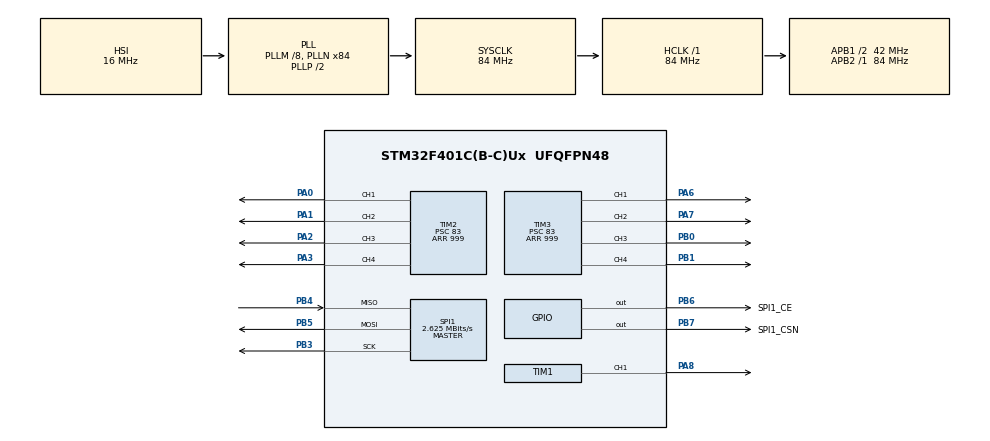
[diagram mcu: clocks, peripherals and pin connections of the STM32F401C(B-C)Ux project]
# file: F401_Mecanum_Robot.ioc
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Dma.Request0=TIM1_CH1
Dma.TIM1_CH1.0.Direction=DMA_MEMORY_TO_PERIPH
Dma.TIM1_CH1.0.FIFOMode=DMA_FIFOMODE_DISABLE
Dma.TIM1_CH1.0.Instance=DMA2_Stream1
Dma.TIM1_CH1.0.MemDataAlignment=DMA_MDATAALIGN_HALFWORD
Dma.TIM1_CH1.0.MemInc=DMA_MINC_ENABLE
Dma.TIM1_CH1.0.Mode=DMA_NORMAL
Dma.TIM1_CH1.0.PeriphDataAlignment=DMA_PDATAALIGN_HALFWORD
Dma.TIM1_CH1.0.PeriphInc=DMA_PINC_DISABLE
Dma.TIM1_CH1.0.Priority=DMA_PRIORITY_LOW
Mcu.Family=STM32F4
Mcu.Name=STM32F401C(B-C)Ux
Mcu.Package=UFQFPN48
NVIC.DMA2_Stream1_IRQn=true\:0\:0\:false\:false\:true\:false\:true\:true
NVIC.PriorityGroup=NVIC_PRIORITYGROUP_4
PA0-WKUP.Signal=S_TIM2_CH1_ETR
PA1.Signal=S_TIM2_CH2
PA13.Mode=Serial_Wire
PA13.Signal=SYS_JTMS-SWDIO
PA14.Mode=Serial_Wire
PA14.Signal=SYS_JTCK-SWCLK
PA2.Signal=S_TIM2_CH3
PA3.Signal=S_TIM2_CH4
PA6.Signal=S_TIM3_CH1
PA7.Signal=S_TIM3_CH2
PA8.Signal=S_TIM1_CH1
PB0.Signal=S_TIM3_CH3
PB1.Signal=S_TIM3_CH4
PB3.Mode=Full_Duplex_Master
PB3.Signal=SPI1_SCK
PB4.Mode=Full_Duplex_Master
PB4.Signal=SPI1_MISO
PB5.Mode=Full_Duplex_Master
PB5.Signal=SPI1_MOSI
PB6.GPIO_Label=SPI1_CE
PB6.Signal=GPIO_Output
PB7.GPIO_Label=SPI1_CSN
PB7.Signal=GPIO_Output
PH0\ -\ OSC_IN.Mode=HSE-External-Oscillator
PH0\ -\ OSC_IN.Signal=RCC_OSC_IN
PH1\ -\ OSC_OUT.Mode=HSE-External-Oscillator
PH1\ -\ OSC_OUT.Signal=RCC_OSC_OUT
ProjectManager.HeapSize=0x200
ProjectManager.StackSize=0x400
ProjectManager.TargetToolchain=STM32CubeIDE
RCC.48MHZClocksFreq_Value=42000000
RCC.AHBFreq_Value=84000000
RCC.APB1CLKDivider=RCC_HCLK_DIV2
RCC.APB1Freq_Value=42000000
RCC.APB1TimFreq_Value=84000000
RCC.APB2Freq_Value=84000000
RCC.APB2TimFreq_Value=84000000
RCC.CortexFreq_Value=84000000
RCC.HCLKFreq_Value=84000000
RCC.HSE_VALUE=25000000
RCC.HSI_VALUE=16000000
RCC.LSE_VALUE=32768
RCC.PLLM=8
RCC.PLLN=84
RCC.SYSCLKFreq_VALUE=84000000
RCC.SYSCLKSource=RCC_SYSCLKSOURCE_PLLCLK
RCC.VCOOutputFreq_Value=168000000
SH.S_TIM1_CH1.0=TIM1_CH1,PWM Generation1 CH1
SH.S_TIM2_CH1_ETR.0=TIM2_CH1,PWM Generation1 CH1
SH.S_TIM2_CH2.0=TIM2_CH2,PWM Generation2 CH2
SH.S_TIM2_CH3.0=TIM2_CH3,PWM Generation3 CH3
SH.S_TIM2_CH4.0=TIM2_CH4,PWM Generation4 CH4
SH.S_TIM3_CH1.0=TIM3_CH1,PWM Generation1 CH1
SH.S_TIM3_CH2.0=TIM3_CH2,PWM Generation2 CH2
SH.S_TIM3_CH3.0=TIM3_CH3,PWM Generation3 CH3
SH.S_TIM3_CH4.0=TIM3_CH4,PWM Generation4 CH4
SPI1.BaudRatePrescaler=SPI_BAUDRATEPRESCALER_32
SPI1.CalculateBaudRate=2.625 MBits/s
SPI1.Direction=SPI_DIRECTION_2LINES
SPI1.Mode=SPI_MODE_MASTER
SPI1.VirtualType=VM_MASTER
TIM1.AutoReloadPreload=TIM_AUTORELOAD_PRELOAD_ENABLE
TIM1.Channel-PWM\ Generation1\ CH1=TIM_CHANNEL_1
TIM1.Period=104
TIM2.Channel-PWM\ Generation1\ CH1=TIM_CHANNEL_1
TIM2.Channel-PWM\ Generation2\ CH2=TIM_CHANNEL_2
TIM2.Channel-PWM\ Generation3\ CH3=TIM_CHANNEL_3
TIM2.Channel-PWM\ Generation4\ CH4=TIM_CHANNEL_4
TIM2.Period=999
TIM2.Prescaler=83
TIM3.Channel-PWM\ Generation1\ CH1=TIM_CHANNEL_1
TIM3.Channel-PWM\ Generation2\ CH2=TIM_CHANNEL_2
TIM3.Channel-PWM\ Generation3\ CH3=TIM_CHANNEL_3
TIM3.Channel-PWM\ Generation4\ CH4=TIM_CHANNEL_4
TIM3.Period=999
TIM3.Prescaler=83
VP_TIM1_VS_ClockSourceINT.Mode=Internal
VP_TIM2_VS_ClockSourceINT.Mode=Internal
VP_TIM3_VS_ClockSourceINT.Mode=Internal
board=custom

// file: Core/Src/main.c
/* USER CODE BEGIN Header */
/**
  ******************************************************************************
  * @file           : main.c
  * @brief          : Main program body
  ******************************************************************************
  * @attention
  *
  * <h2><center>&copy; Copyright (c) 2023 STMicroelectronics.
  * All rights reserved.</center></h2>
  *
  * This software component is licensed by ST under BSD 3-Clause license,
  * the "License"; You may not use this file except in compliance with the
  * License. You may obtain a copy of the License at:
  *                        opensource.org/licenses/BSD-3-Clause
  *
  ******************************************************************************
  */
/* USER CODE END Header */
#include "main.h"
#include "dma.h"
#include "spi.h"
#include "tim.h"
#include "gpio.h"

/* USER CODE BEGIN Includes */

#include "NRF24L01.h"
#include "math.h"

/* USER CODE END Includes */

/* USER CODE BEGIN PM */

uint8_t Rxaddr[5] = {'S','T','E','A','E'};
uint8_t RxData[8];
uint32_t lastTime = 0;

uint32_t last_time = 0;
#define MAX_LED 8
#define USE_BRIGHTNESS 0

uint8_t LED_Data[MAX_LED][8];
uint8_t LED_Mod[MAX_LED][8];  // for brightness
uint16_t effStep = 0;
uint32_t K[3] = {0, 4, 8};
int GREEN[3] = {255, 0, 0};
int BLUE[3] = {0, 255, 0};
int RED[3] = {0, 0, 255};
int L = 4, M = 8,z;
int datasentflag=0;
int RGB_Blue = 0;
int RGB_Red = 255;
int RGB_Green =0;
int RGB_state = 0;
int RGB_Brightness = 255;

float W1, W2, W3, W4 ;
float Vx, Vy, Omega;

/* USER CODE END PM */

void SystemClock_Config(void);
/* USER CODE BEGIN PFP */

void HAL_TIM_PWM_PulseFinishedCallback(TIM_HandleTypeDef *htim)
{
	HAL_TIM_PWM_Stop_DMA(&htim1, TIM_CHANNEL_1);
	datasentflag=1;
}

void Set_LED (int LEDnum, int Red, int Green, int Blue)
{
	LED_Data[LEDnum][0] = LEDnum;
	LED_Data[LEDnum][1] = Green;
	LED_Data[LEDnum][2] = Red;
	LED_Data[LEDnum][3] = Blue;
}

#define PI 3.14159265

void Set_Brightness (int brightness)  // 0-45
{
#if USE_BRIGHTNESS

	if (brightness > 45) brightness = 45;
	for (int i=0; i<MAX_LED; i++)
	{
		LED_Mod[i][0] = LED_Data[i][0];
		for (int j=1; j<4; j++)
		{
			float angle = 90-brightness;  // in degrees
			angle = angle*PI / 180;  // in rad
			LED_Mod[i][j] = (LED_Data[i][j])/(tan(angle));
		}
	}

#endif

}

uint16_t pwmData[(24*MAX_LED)+50];

void WS2812_Send (void)
{
	uint32_t indx=0;
	uint32_t color;

	for (int i= 0; i<MAX_LED; i++)
	{
#if USE_BRIGHTNESS
		color = ((LED_Mod[i][1]<<16) | (LED_Mod[i][2]<<8) | (LED_Mod[i][3]));
#else
		color = ((LED_Data[i][1]<<16) | (LED_Data[i][2]<<8) | (LED_Data[i][3]));
#endif

		for (int i=23; i>=0; i--)
		{
			if (color&(1<<i))
			{
				pwmData[indx] = 70;  // 2/3 of 105/70
			}

			else pwmData[indx] = 35;  // 1/3 of 105/37

			indx++;
		}

	}

	for (int i=0; i<50; i++)
	{
		pwmData[indx] = 0;
		indx++;
	}

	HAL_TIM_PWM_Start_DMA(&htim1, TIM_CHANNEL_1, (uint32_t *)pwmData, indx);
	while (!datasentflag){};
	datasentflag = 0;
}

void Reset_LED (void)
{
	for (int i=0; i<MAX_LED; i++)
	{
		LED_Data[i][0] = i;
		LED_Data[i][1] = 0;
		LED_Data[i][2] = 0;
		LED_Data[i][3] = 0;
	}
}

double map(double x, double in_min, double in_max, double out_min, double out_max) {
  return (x - in_min) * (out_max - out_min) / (in_max - in_min) + out_min;
}

void reset_data(void){
  RxData[0] = 128;//x1
  RxData[1] = 128;//y1
  RxData[2] = 128;//x2
  RxData[3] = 128; //y2
  RxData[4] = 128; //y2
  RxData[5] = 128; //y2
  RxData[6] = 0; //y2
  RxData[7] = 0; //y2
}
void RGB_Speed(){
	  if(HAL_GetTick() - last_time >= map(RxData[0],0,255,20,250)){
	  	last_time = HAL_GetTick();

	  	for(int i = 0;i<=2; i++){
			K[i]++;
			if(K[i] == 12){
				K[i]=0;
				Set_LED(K[i], RED[i], GREEN[i], BLUE[i]);
				Set_Brightness(0);
				Set_LED(11, 0, 0, 0);

				WS2812_Send();
			}
			if(K[i]>=1 && K[i]<=11){
				Set_LED(K[i],RED[i], GREEN[i], BLUE[i]);
				Set_LED(K[i]-1, 0, 0, 0);
				WS2812_Send();
			}
	  	}
	  }
}

/* USER CODE END PFP */

int main(void)
{

  /* MCU Configuration--------------------------------------------------------*/

  /* Reset of all peripherals, Initializes the Flash interface and the Systick. */
  HAL_Init();

  /* Configure the system clock */
  SystemClock_Config();

  /* Initialize all configured peripherals */
  MX_GPIO_Init();
  MX_DMA_Init();
  MX_TIM1_Init();
  MX_SPI1_Init();
  MX_TIM2_Init();
  MX_TIM3_Init();
  /* USER CODE BEGIN 2 */

    Reset_LED();

    NRF24_Init();
    NRF24_RxMode(Rxaddr, 112, 8);//NRF24_TxMode(Address, channel, payload_size)
    RxData[0] = 128;//x1
    RxData[1] = 128;//y1
    RxData[2] = 128;//x2
    RxData[3] = 128; //y2
    RxData[4] = 128; //y2
    RxData[5] = 128; //y2
    RxData[6] = 0; //y2
    RxData[7] = 0; //y2

    HAL_TIM_PWM_Start(&htim2, TIM_CHANNEL_1);
    HAL_TIM_PWM_Start(&htim2, TIM_CHANNEL_2);
    HAL_TIM_PWM_Start(&htim2, TIM_CHANNEL_3);
    HAL_TIM_PWM_Start(&htim2, TIM_CHANNEL_4);

    HAL_TIM_PWM_Start(&htim3, TIM_CHANNEL_1);
    HAL_TIM_PWM_Start(&htim3, TIM_CHANNEL_2);
    HAL_TIM_PWM_Start(&htim3, TIM_CHANNEL_3);
    HAL_TIM_PWM_Start(&htim3, TIM_CHANNEL_4);

  /* USER CODE END 2 */

  /* Infinite loop */
  /* USER CODE BEGIN WHILE */
  while (1)
  {

	  if(DataReady(1)>0){
			NRF24_Receive(RxData, 8);
			lastTime = HAL_GetTick();
		  }
		  if((HAL_GetTick() - lastTime > 10)){
			reset_data();
		  }

		  Vx = map(RxData[0],0 , 256, 999, -999);
		  Vy = map(RxData[1],0 , 256, 999, -999);
		  Omega = map(RxData[2],0 , 256, 999, -999);

		  W1 = -Vx - Vy + 0.5*Omega;
		  W2 = -Vx + Vy - 0.5*Omega;
		  W3 = -Vx + Vy + 0.5*Omega;
		  W4 = -Vx - Vy - 0.5*Omega;

		  if(W1 < -999) W1= -999;
		  if(W1 > 999)  W1 = 999;

		  if(W2 < -999) W2 = -999;
		  if(W2 > 999)  W2 = 999;

		  if(W3 < -999) W3 = -999;
		  if(W3 > 999)  W3 = 999;

		  if(W4 < -999) W4 = -999;
		  if(W4 > 999)  W4 = 999;

		  /////////////////////////
		  if(W1 > 0 && W1 <= 999){
			  __HAL_TIM_SET_COMPARE(&htim2, TIM_CHANNEL_1, W1);
			  __HAL_TIM_SET_COMPARE(&htim2, TIM_CHANNEL_2, 0);
		  }
		  if(W1 == 0){
			  __HAL_TIM_SET_COMPARE(&htim2, TIM_CHANNEL_1, 0);
			  __HAL_TIM_SET_COMPARE(&htim2, TIM_CHANNEL_2, 0);
		  }
		  if(W1 < 0 && W1 >= -999){
			  __HAL_TIM_SET_COMPARE(&htim2, TIM_CHANNEL_1, 0);
			  __HAL_TIM_SET_COMPARE(&htim2, TIM_CHANNEL_2, (-1)*W1);
		  }
		  /////////////////////////
		  if(W2> 0 && W2<= 999){
			  __HAL_TIM_SET_COMPARE(&htim2, TIM_CHANNEL_3, 0);
			  __HAL_TIM_SET_COMPARE(&htim2, TIM_CHANNEL_4, W2);
		  }
		  if(W2 == 0){
			  __HAL_TIM_SET_COMPARE(&htim2, TIM_CHANNEL_3, 0);
			  __HAL_TIM_SET_COMPARE(&htim2, TIM_CHANNEL_4, 0);
		  }
		  if(W2 < 0 && W2 >= -999){
			  __HAL_TIM_SET_COMPARE(&htim2, TIM_CHANNEL_3, (-1)*W2);
			  __HAL_TIM_SET_COMPARE(&htim2, TIM_CHANNEL_4, 0);
		  }
		  ///////////////////////////
		  if(W3> 0 && W3<= 999){
			  __HAL_TIM_SET_COMPARE(&htim3, TIM_CHANNEL_1, W3);
			  __HAL_TIM_SET_COMPARE(&htim3, TIM_CHANNEL_2, 0);
		  }
		  if(W3 == 0){
			  __HAL_TIM_SET_COMPARE(&htim3, TIM_CHANNEL_1, 0);
			  __HAL_TIM_SET_COMPARE(&htim3, TIM_CHANNEL_2, 0);
		  }
		  if(W3 < 0 && W3 >= -999){
			  __HAL_TIM_SET_COMPARE(&htim3, TIM_CHANNEL_1, 0);
			  __HAL_TIM_SET_COMPARE(&htim3, TIM_CHANNEL_2, (-1)*W3);
		  }
		  ///////////////////////////
		  if(W4> 0 && W4<= 999){
			  __HAL_TIM_SET_COMPARE(&htim3, TIM_CHANNEL_3, 0);
			  __HAL_TIM_SET_COMPARE(&htim3, TIM_CHANNEL_4, W4);
		  }
		  if(W4 == 0){
			  __HAL_TIM_SET_COMPARE(&htim3, TIM_CHANNEL_3, 0);
			  __HAL_TIM_SET_COMPARE(&htim3, TIM_CHANNEL_4, 0);
		  }
		  if(W4 < 0 && W4 >= -999){
			  __HAL_TIM_SET_COMPARE(&htim3, TIM_CHANNEL_3, (-1)*W4);
			  __HAL_TIM_SET_COMPARE(&htim3, TIM_CHANNEL_4, 0);
		  }

	  //////RGB
	  if(HAL_GetTick() - last_time >= 30 ){
	  	last_time = HAL_GetTick();

	  	if (RGB_state == 0){
		  	RGB_Red = RGB_Brightness;
		  	RGB_Green ++;
		  	RGB_Blue = 0;
		  	if(RGB_Green >= RGB_Brightness){
		  		RGB_state = 1;
		  	}
	  	}
	  	else if (RGB_state == 1){
		  	RGB_Red --;
		  	RGB_Green = RGB_Brightness;
		  	RGB_Blue = 0;
		  	if(RGB_Red <= 0){
		  		RGB_state = 2;
		  	}
	  	}
	  	else if (RGB_state == 2){
		  	RGB_Red = 0;
		  	RGB_Green = RGB_Brightness;
		  	RGB_Blue ++;
		  	if(RGB_Blue >= RGB_Brightness){
		  		RGB_state = 3;
		  	}
	  	}
	  	else if (RGB_state == 3){
		  	RGB_Red = 0;
		  	RGB_Green --;
		  	RGB_Blue = RGB_Brightness;
		  	if(RGB_Green <= 0){
		  		RGB_state = 4;
		  	}
	  	}
	  	else if (RGB_state == 4){
		  	RGB_Red ++;
		  	RGB_Green = 0;
		  	RGB_Blue = RGB_Brightness;
		  	if(RGB_Red >= RGB_Brightness){
		  		RGB_state = 5;
		  	}	  	}
	  	else if (RGB_state == 5){
		  	RGB_Red = RGB_Brightness;
		  	RGB_Green = 0;
		  	RGB_Blue --;
		  	if(RGB_Blue <= 0){
		  		RGB_state = 0;
		  	}	  	}

	  	else{

	  	}
	  ///////////////////////
	  }
		Set_LED(0, RGB_Red, RGB_Green, RGB_Blue);
		Set_LED(1, RGB_Red, RGB_Green, RGB_Blue);
		Set_LED(2, RGB_Red, RGB_Green, RGB_Blue);
		Set_LED(3, RGB_Red, RGB_Green, RGB_Blue);
		Set_LED(4, RGB_Red, RGB_Green, RGB_Blue);
		Set_LED(5, RGB_Red, RGB_Green, RGB_Blue);
		Set_LED(6, RGB_Red, RGB_Green, RGB_Blue);
		Set_LED(7, RGB_Red, RGB_Green, RGB_Blue);
		WS2812_Send();

    /* USER CODE END WHILE */

  }
}

void SystemClock_Config(void)
{
  RCC_OscInitTypeDef RCC_OscInitStruct = {0};
  RCC_ClkInitTypeDef RCC_ClkInitStruct = {0};

  /** Configure the main internal regulator output voltage
  */
  __HAL_RCC_PWR_CLK_ENABLE();
  __HAL_PWR_VOLTAGESCALING_CONFIG(PWR_REGULATOR_VOLTAGE_SCALE2);
  /** Initializes the RCC Oscillators according to the specified parameters
  * in the RCC_OscInitTypeDef structure.
  */
  RCC_OscInitStruct.OscillatorType = RCC_OSCILLATORTYPE_HSI;
  RCC_OscInitStruct.HSIState = RCC_HSI_ON;
  RCC_OscInitStruct.HSICalibrationValue = RCC_HSICALIBRATION_DEFAULT;
  RCC_OscInitStruct.PLL.PLLState = RCC_PLL_ON;
  RCC_OscInitStruct.PLL.PLLSource = RCC_PLLSOURCE_HSI;
  RCC_OscInitStruct.PLL.PLLM = 8;
  RCC_OscInitStruct.PLL.PLLN = 84;
  RCC_OscInitStruct.PLL.PLLP = RCC_PLLP_DIV2;
  RCC_OscInitStruct.PLL.PLLQ = 4;
  if (HAL_RCC_OscConfig(&RCC_OscInitStruct) != HAL_OK)
  {
    Error_Handler();
  }
  /** Initializes the CPU, AHB and APB buses clocks
  */
  RCC_ClkInitStruct.ClockType = RCC_CLOCKTYPE_HCLK|RCC_CLOCKTYPE_SYSCLK
                              |RCC_CLOCKTYPE_PCLK1|RCC_CLOCKTYPE_PCLK2;
  RCC_ClkInitStruct.SYSCLKSource = RCC_SYSCLKSOURCE_PLLCLK;
  RCC_ClkInitStruct.AHBCLKDivider = RCC_SYSCLK_DIV1;
  RCC_ClkInitStruct.APB1CLKDivider = RCC_HCLK_DIV2;
  RCC_ClkInitStruct.APB2CLKDivider = RCC_HCLK_DIV1;

  if (HAL_RCC_ClockConfig(&RCC_ClkInitStruct, FLASH_LATENCY_2) != HAL_OK)
  {
    Error_Handler();
  }
}

void Error_Handler(void)
{
  __disable_irq();
  while (1)
  {
  }
}

/************************ (C) COPYRIGHT STMicroelectronics *****END OF FILE****/
